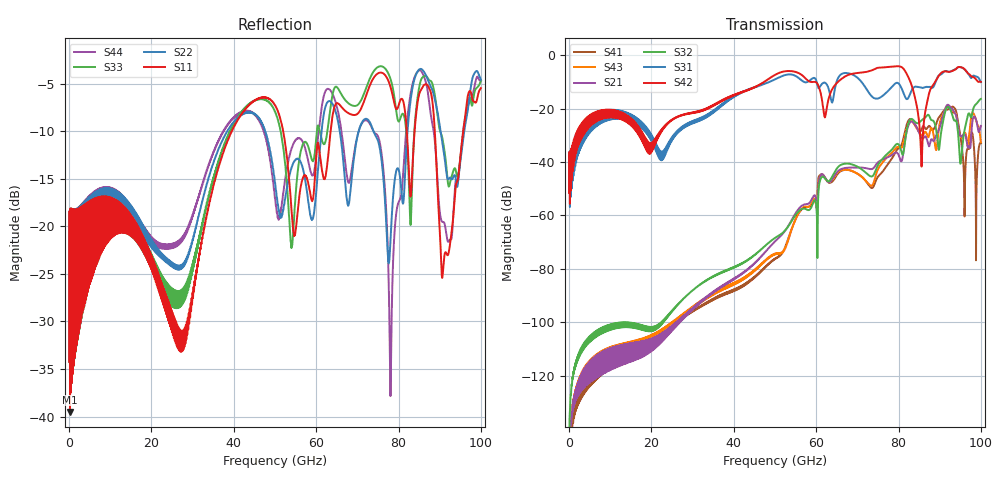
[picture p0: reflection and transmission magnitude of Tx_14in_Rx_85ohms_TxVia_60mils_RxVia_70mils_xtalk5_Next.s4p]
! Info: Touchstone file created by Circ.  Input file=Tx_14in_Rx_85ohms_TxVia_60mils_RxVia_70mils.circ
# Hz S RI R 50
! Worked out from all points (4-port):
!   10000 points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, 10 MHz to 100 GHz, reference 50 ohm
!   strongest paths, dB at 10 MHz, 25.01 GHz, 50.01 GHz, 75.01 GHz, 100 GHz:
!     S42: -51.6, -24.3, -7.4, -4.7, -10.0
!     S31: -51.6, -32.0, -9.1, -16.2, -10.1
!     S32: -156.7, -95.7, -68.5, -41.2, -16.4
!     S21: -167.5, -101.5, -69.8, -40.1, -26.5
!     S43: -157.9, -100.1, -74.5, -42.7, -32.7
!     S41: -158.3, -100.6, -76.4, -45.5, -33.0
!   lowest |S11| = -39.5 dB at 230 MHz (marker M1), VSWR 1.02, Z = 49.2 - j0.705 ohm
!   |S11| at or under -10 dB: start of sweep to 39.5 GHz; 51.97 GHz to 63.51 GHz (11.54 GHz wide, 20 % of centre); 88.81 GHz to 95.73 GHz (6.922 GHz wide, 7.5 % of centre)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
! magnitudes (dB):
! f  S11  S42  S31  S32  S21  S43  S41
! 10 MHz  -34.2  -51.6  -51.6  -156.7  -167.5  -157.9  -158.3
! 230 MHz  -39.5  -43.4  -43.4  -132.8  -143.4  -143.3  -147.2
! 39.83 GHz  -9.7  -14.9  -15.5  -79.8  -84.2  -86.1  -88.4
! 72.84 GHz  -5.4  -6.1  -14.2  -45.1  -42.6  -48.4  -48.8
! 78.07 GHz  -5.4  -4.3  -12.4  -35.9  -37.7  -37.0  -39.5
! 85.57 GHz  -5.6  -41.6  -12.2  -24.4  -31.2  -30.1  -27.8
! 100 GHz  -5.5  -10.0  -10.1  -16.4  -26.5  -32.7  -33.0
